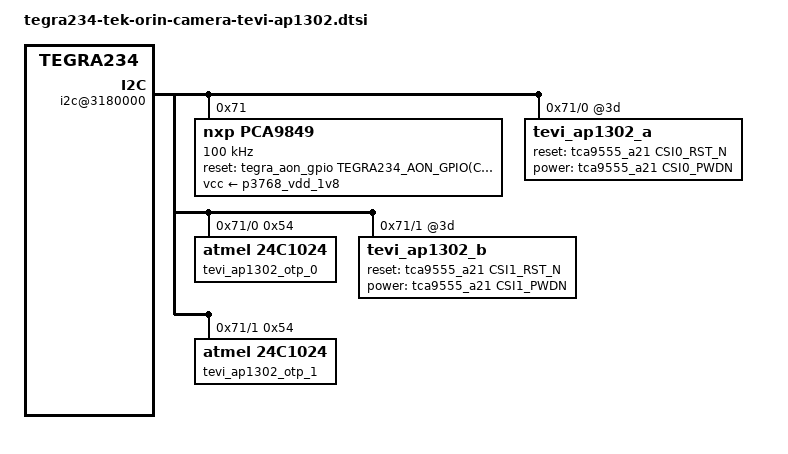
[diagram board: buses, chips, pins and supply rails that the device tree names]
/*
 * Copyright (c) 2022, NVIDIA CORPORATION.  All rights reserved.
 *
 * This program is free software; you can redistribute it and/or modify
 * it under the terms of the GNU General Public License as published by
 * the Free Software Foundation; either version 2 of the License, or
 * (at your option) any later version.
 *
 * This program is distributed in the hope that it will be useful, but WITHOUT
 * ANY WARRANTY; without even the implied warranty of MERCHANTABILITY or
 * FITNESS FOR A PARTICULAR PURPOSE.  See the GNU General Public License for
 * more details.
 *
 * You should have received a copy of the GNU General Public License
 * along with this program.  If not, see <http://www.gnu.org/licenses/>.
 */

#include "tegra234-camera-tevi-ap1302.dtsi"

//Define GPIO number for tca9555_a21
#define CSI0_PWDN	0
#define CSI0_PDB	1
#define CSI0_RST_N	2
#define INFO0_TRIG_IN	3
#define CSI1_PWDN	4
#define CSI1_PDB	5
#define CSI1_RST_N	6
#define INFO1_TRIG_IN	7

#define CAMERA_I2C_MUX_BUS(x) (0x14 + x)
/ {
	i2c@3180000 { /* cam_i2c */
		pca9849@71 {
			clock-frequency = <100000>;
			compatible = "nxp,pca9849";
			reg = <0x71>;
			#address-cells = <1>;
			#size-cells = <0>;
			reset-gpios = <&tegra_aon_gpio TEGRA234_AON_GPIO(CC, 3) GPIO_ACTIVE_LOW>;
			skip_mux_detect = "yes";
			vcc-supply = <&p3768_vdd_1v8>;
			vcc_lp = "vcc";
			force_bus_start = <CAMERA_I2C_MUX_BUS(0)>;

			i2c@0 {
				reg = <0>;
				i2c-mux,deselect-on-exit;
				#address-cells = <1>;
				#size-cells = <0>;
				
				tevi_ap1302_a@3d {
					reset-gpios = <&tca9555_a21 CSI0_RST_N GPIO_ACTIVE_HIGH>;
					power-gpios = <&tca9555_a21 CSI0_PWDN GPIO_ACTIVE_HIGH>;
					nvmem = <&tevi_ap1302_otp_0>;
					nvmem-names = "calib-data";
					data-lanes = <2>;
				};

				tevi_ap1302_otp_0: tevi_ap1302_otp@54 {
					compatible = "atmel,24c1024";
					pagesize = <128>;
					reg = <0x54>;
				};
			};
			i2c@1 {
				reg = <1>;
				i2c-mux,deselect-on-exit;
				#address-cells = <1>;
				#size-cells = <0>;
				tevi_ap1302_b@3d {
					reset-gpios = <&tca9555_a21 CSI1_RST_N GPIO_ACTIVE_HIGH>;
					power-gpios = <&tca9555_a21 CSI1_PWDN GPIO_ACTIVE_HIGH>;
					nvmem = <&tevi_ap1302_otp_1>;
					nvmem-names = "calib-data";
					data-lanes = <2>;
				};

				tevi_ap1302_otp_1: tevi_ap1302_otp@54 {
					compatible = "atmel,24c1024";
					pagesize = <128>;
					reg = <0x54>;
				};
			};
		};
	};
};
